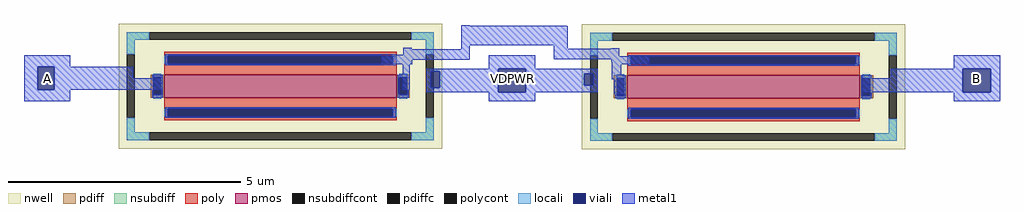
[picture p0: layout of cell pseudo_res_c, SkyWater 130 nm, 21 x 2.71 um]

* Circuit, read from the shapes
.subckt pseudo_res_c VDPWR B A
XM1 XP2/D XP2/D A VDPWR sky130_fd_pr__pfet_01v8 w=0.5 l=5
XM2 B XP2/D XP2/D VDPWR sky130_fd_pr__pfet_01v8 w=0.5 l=5
.ends

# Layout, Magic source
magic
tech sky130A
magscale 1 2
<< viali >>
rect -540 -750 -470 -650
rect 1150 -740 1190 -670
rect 1440 -760 1560 -660
rect 1810 -730 1850 -680
rect 3440 -760 3560 -660
<< metal1 >>
rect 1282 -474 1319 -471
rect 1282 -476 1738 -474
rect 1282 -557 1739 -476
rect 1031 -576 1069 -569
rect 1282 -576 1319 -557
rect 1031 -598 1319 -576
rect -600 -650 -400 -600
rect 940 -618 1319 -598
rect 1680 -572 1739 -557
rect 1928 -572 1962 -570
rect 940 -620 1317 -618
rect 940 -639 1070 -620
rect -600 -750 -540 -650
rect -470 -700 -130 -650
rect -470 -750 -10 -700
rect 1030 -750 1060 -639
rect 1400 -660 1600 -600
rect 1680 -606 1962 -572
rect 1680 -618 2090 -606
rect 1928 -630 2090 -618
rect 1930 -640 2090 -630
rect 1130 -670 1440 -660
rect 1130 -740 1150 -670
rect 1190 -740 1440 -670
rect -600 -800 -400 -750
rect 1130 -760 1440 -740
rect 1560 -680 1870 -660
rect 1560 -730 1810 -680
rect 1850 -730 1870 -680
rect 1930 -690 1970 -640
rect 3400 -660 3600 -600
rect 1930 -704 1980 -690
rect 3130 -700 3440 -660
rect 1560 -760 1870 -730
rect 1400 -800 1600 -760
rect 1940 -769 1980 -704
rect 3010 -760 3440 -700
rect 3560 -760 3600 -660
rect 3400 -800 3600 -760
use sky130_fd_pr__pfet_01v8_SF6GDQ  XP1
transform 1 0 503 0 1 -734
box -696 -269 696 269
use sky130_fd_pr__pfet_01v8_SF6GDQ  XP2
transform 1 0 2496 0 1 -737
box -696 -269 696 269
<< labels >>
flabel metal1 -600 -800 -400 -600 0 FreeSans 1600 0 0 0 A
port 2 nsew
flabel metal1 3400 -800 3600 -600 0 FreeSans 1600 0 0 0 B
port 1 nsew
flabel metal1 1400 -800 1600 -600 0 FreeSans 1600 90 0 0 VDPWR
port 0 nsew
<< end >>

# cell sky130_fd_pr__pfet_01v8_SF6GDQ: kit device sky130_fd_pr__pfet_01v8, w 0.5 l 5.0 m 1 nf 1 diffcov 100 polycov 100 guard 1 glc 1 grc 1 gtc 1 gbc 1 tbcov 100 rlcov 100 topc 1 botc 1 poverlap 0 doverlap 1 lmin 0.15 wmin 0.42 class mosfet compatible {sky130_fd_pr__pfet_01v8 sky130_fd_pr__pfet_01v8_lvt sky130_fd_pr__pfet_01v8_hvt sky130_fd_pr__pfet_g5v0d10v5} full_metal 1 conn_gates 0 viasrc 100 viadrn 100 viagate 100 viagb 0 viagr 0 viagl 0 viagt 0 doports 1 ad 0.145 as 0.145 pd 1.58 ps 1.58 nrd 0.58 nrs 0.58 sa 0 sb 0 sd 0 mult 1
